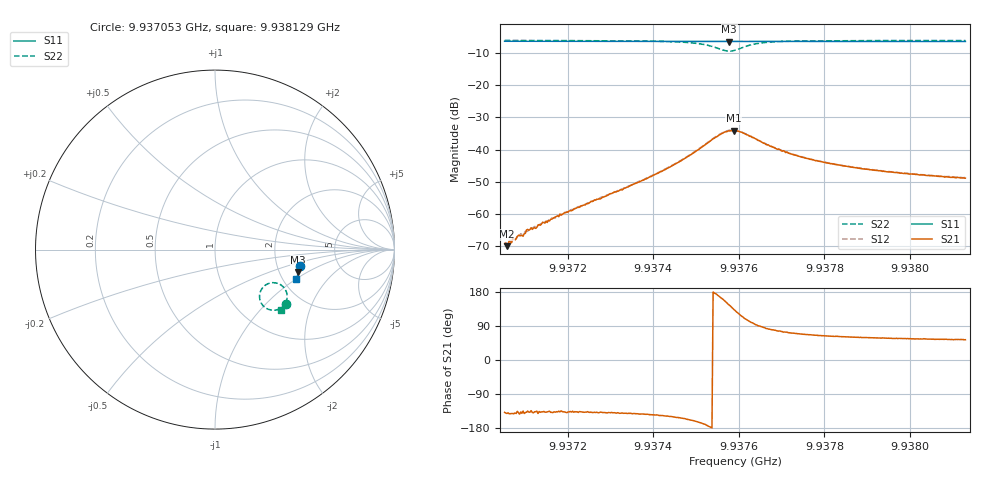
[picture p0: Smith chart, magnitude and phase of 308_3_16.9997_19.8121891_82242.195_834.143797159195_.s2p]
#  HZ  S  RI  R  50.00
! Rohde & Schwarz Vector Network Analyzer
! Rohde-Schwarz,ZNB20-2Port,1311601062101988,3.16
! Created: UTC 3/20/2024, 11:05:54 PM
! freq[Hz]  re:S11  im:S11  re:S21  im:S21  re:S12  im:S12  re:S22  im:S22
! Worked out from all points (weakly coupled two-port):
!   401 points, 9.937053 GHz to 9.938129 GHz, reference 50 ohm
!   highest |S21| = -34.09 dB at 9.937588 GHz (marker M1); lowest = -70.0 dB at 9.937058 GHz (marker M2)
!   lowest |S11| = -6.4 dB at 9.937578 GHz (marker M3), VSWR 2.85, Z = 127 - j41.3 ohm
!   |S11| at or under -10 dB: nowhere
!   |S22| runs from -9.4 to -6.0 dB; largest |S21 - S12| = 0.00092
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9.9370529e9  0.4759 -0.0913  -0.000258 -0.000231  -0.000275 -0.000177  0.396 -0.3027
9.9370582e9  0.4756 -0.0916  -0.000245 -0.000198  -0.000271 -0.000212  0.3954 -0.3031
9.9370878e9  0.4752 -0.0937  -0.000368 -0.000278  -0.000343 -0.000303  0.3936 -0.3051
9.9370959e9  0.4751 -0.0942  -0.000316 -0.000318  -0.000384 -0.000302  0.3928 -0.3058
9.9371094e9  0.4747 -0.0951  -0.000412 -0.000375  -0.000429 -0.000358  0.3919 -0.3068
9.9371228e9  0.4746 -0.096  -0.000444 -0.000419  -0.000464 -0.000436  0.3908 -0.3078
9.9371713e9  0.4736 -0.0994  -0.000666 -0.000605  -0.000636 -0.000584  0.387 -0.3115
9.9372332e9  0.4724 -0.1035  -0.000981 -0.000915  -0.000989 -0.000873  0.381 -0.3165
9.9374135e9  0.4688 -0.1159  -0.00365 -0.00242  -0.00373 -0.00242  0.3493 -0.3343
9.9374647e9  0.4674 -0.1193  -0.00595 -0.00299  -0.00611 -0.00299  0.3273 -0.3378
9.9375185e9  0.4656 -0.1229  -0.0113 -0.00221  -0.0116 -0.00198  0.2832 -0.3256
9.9375535e9  0.464 -0.1246  -0.0164 0.0033  -0.0166 0.00388  0.2493 -0.275
9.9375777e9  0.4633 -0.1253  -0.016 0.0111  -0.0161 0.012  0.2644 -0.2136
9.9375885e9  0.4634 -0.1255  -0.0136 0.0144  -0.0132 0.015  0.2885 -0.1934
9.9375912e9  0.4634 -0.1255  -0.0129 0.0149  -0.0125 0.0155  0.2956 -0.1901
9.9376073e9  0.4635 -0.1264  -0.0079 0.0168  -0.00739 0.0171  0.3366 -0.1853
9.9376504e9  0.4637 -0.1293  0.000227 0.0134  0.000605 0.0135  0.3933 -0.2262
9.9376988e9  0.4629 -0.1328  0.00245 0.00934  0.00264 0.00948  0.4021 -0.2634
9.9377715e9  0.4614 -0.138  0.00283 0.00637  0.00298 0.00637  0.3967 -0.2912
9.9378415e9  0.4597 -0.1427  0.00269 0.00494  0.00281 0.00496  0.39 -0.3054
9.9379518e9  0.457 -0.1499  0.00244 0.00379  0.00255 0.00379  0.3809 -0.3193
9.9381294e9  0.4523 -0.1613  0.00213 0.00289  0.00223 0.00289  0.3684 -0.3342
